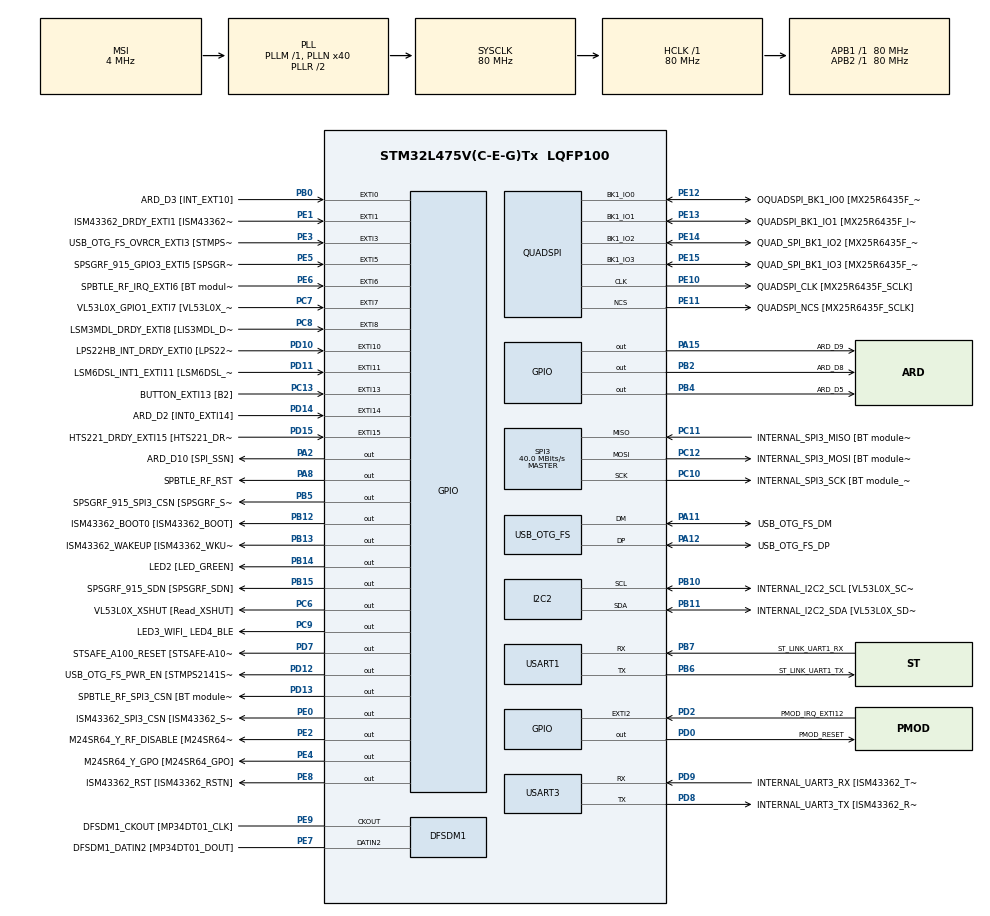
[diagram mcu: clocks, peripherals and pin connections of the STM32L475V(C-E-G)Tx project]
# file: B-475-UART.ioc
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IWDG.Prescaler=IWDG_PRESCALER_256
IWDG.Reload=1000
IWDG.Window=1000
Mcu.Family=STM32L4
Mcu.Name=STM32L475V(C-E-G)Tx
Mcu.Package=LQFP100
NVIC.EXTI15_10_IRQn=true\:0\:0\:false\:false\:true\:true
NVIC.EXTI9_5_IRQn=true\:0\:0\:false\:false\:true\:true
NVIC.PriorityGroup=NVIC_PRIORITYGROUP_4
NVIC.USART1_IRQn=true\:0\:0\:false\:false\:true\:true
PA0.GPIO_Label=ARD_D1 [UART4_TX]
PA0.Signal=UART4_TX
PA1.GPIO_Label=ARD_D0 [UART4_RX]
PA1.Signal=UART4_RX
PA10.GPIO_Label=USB_OTG_FS_ID
PA10.Signal=USB_OTG_FS_ID
PA11.GPIO_Label=USB_OTG_FS_DM
PA11.Mode=Device_Only
PA11.Signal=USB_OTG_FS_DM
PA12.GPIO_Label=USB_OTG_FS_DP
PA12.Mode=Device_Only
PA12.Signal=USB_OTG_FS_DP
PA13\ (JTMS-SWDIO).GPIO_Label=SYS_JTMS_SWDIO
PA13\ (JTMS-SWDIO).Mode=Serial_Wire
PA13\ (JTMS-SWDIO).Signal=SYS_JTMS-SWDIO
PA14\ (JTCK-SWCLK).GPIO_Label=SYS_JTCK_SWCLK
PA14\ (JTCK-SWCLK).Mode=Serial_Wire
PA14\ (JTCK-SWCLK).Signal=SYS_JTCK-SWCLK
PA15\ (JTDI).GPIO_Label=ARD_D9
PA15\ (JTDI).Signal=GPIO_Output
PA2.GPIO_Label=ARD_D10 [SPI_SSN]
PA2.Signal=GPIO_Output
PA3.GPIO_Label=ARD_D4
PA3.Signal=S_TIM2_CH4
PA4.GPIO_Label=ARD_D7
PA4.Signal=ADCx_IN9
PA5.GPIO_Label=ARD_D13 [SPI1_SCK]
PA5.Signal=SPI1_SCK
PA6.GPIO_Label=ARD_D12 [SPI1_MISO]
PA6.Signal=SPI1_MISO
PA7.GPIO_Label=ARD_D11 [SPI1_MOSI]
PA7.Signal=SPI1_MOSI
PA8.GPIO_Label=SPBTLE_RF_RST
PA8.Signal=GPIO_Output
PA9.GPIO_Label=USB_OTG_FS_VBUS [STMPS2141STR_OUT]
PA9.Signal=USB_OTG_FS_VBUS
PB0.GPIO_Label=ARD_D3 [INT_EXT10]
PB0.Signal=GPXTI0
PB1.GPIO_Label=ARD_D6 [ADC1_IN6]
PB1.Signal=ADCx_IN16
PB10.GPIO_Label=INTERNAL_I2C2_SCL [VL53L0X_SCL]
PB10.Mode=I2C
PB10.Signal=I2C2_SCL
PB11.GPIO_Label=INTERNAL_I2C2_SDA [VL53L0X_SDA]
PB11.Mode=I2C
PB11.Signal=I2C2_SDA
PB12.GPIO_Label=ISM43362_BOOT0 [ISM43362_BOOT]
PB12.Signal=GPIO_Output
PB13.GPIO_Label=ISM43362_WAKEUP [ISM43362_WKUP]
PB13.Signal=GPIO_Output
PB14.GPIO_Label=LED2 [LED_GREEN]
PB14.Signal=GPIO_Output
PB15.GPIO_Label=SPSGRF_915_SDN [SPSGRF_SDN]
PB15.Signal=GPIO_Output
PB2.GPIO_Label=ARD_D8
PB2.Signal=GPIO_Output
PB3\ (JTDO-TRACESWO).GPIO_Label=SYS_JTD0_SWO
PB3\ (JTDO-TRACESWO).Signal=SYS_JTDO-SWO
PB4\ (NJTRST).GPIO_Label=ARD_D5
PB4\ (NJTRST).Signal=GPIO_Output
PB5.GPIO_Label=SPSGRF_915_SPI3_CSN [SPSGRF_SPI_CS]
PB5.Signal=GPIO_Output
PB6.GPIO_Label=ST_LINK_UART1_TX
PB6.Mode=Asynchronous
PB6.Signal=USART1_TX
PB7.GPIO_Label=ST_LINK_UART1_RX
PB7.Mode=Asynchronous
PB7.Signal=USART1_RX
PB8.GPIO_Label=ARD_D15 [I2C1_SCL]
PB8.Signal=I2C1_SCL
PB9.GPIO_Label=ARD_D14 [I2C1_SDA]
PB9.Signal=I2C1_SDA
PC0.GPIO_Label=ARD_A5 [ADC]
PC0.Signal=ADCx_IN1
PC1.GPIO_Label=ARD_A4 [ADC]
PC1.Signal=ADCx_IN2
PC10.GPIO_Label=INTERNAL_SPI3_SCK [BT module_SPI_SCLK]
PC10.Mode=Full_Duplex_Master
PC10.Signal=SPI3_SCK
PC11.GPIO_Label=INTERNAL_SPI3_MISO [BT module_SPI_MISO]
PC11.Mode=Full_Duplex_Master
PC11.Signal=SPI3_MISO
PC12.GPIO_Label=INTERNAL_SPI3_MOSI [BT module_SPI_MOSI]
PC12.Mode=Full_Duplex_Master
PC12.Signal=SPI3_MOSI
PC13.GPIO_Label=BUTTON_EXTI13 [B2]
PC13.GPIO_ModeDefaultEXTI=GPIO_MODE_IT_FALLING
PC13.Signal=GPXTI13
PC14-OSC32_IN\ (PC14).Mode=LSE-External-Oscillator
PC14-OSC32_IN\ (PC14).Signal=RCC_OSC32_IN
PC15-OSC32_OUT\ (PC15).Mode=LSE-External-Oscillator
PC15-OSC32_OUT\ (PC15).Signal=RCC_OSC32_OUT
PC2.GPIO_Label=ARD_A3 [ADC]
PC2.Signal=ADCx_IN3
PC3.GPIO_Label=ARD_A2 [ADC]
PC3.Signal=ADCx_IN4
PC4.GPIO_Label=ARD_A1 [ADC]
PC4.Signal=ADCx_IN13
PC5.GPIO_Label=ARD_A0 [ADC]
PC5.Signal=ADCx_IN14
PC6.GPIO_Label=VL53L0X_XSHUT [Read_XSHUT]
PC6.Signal=GPIO_Output
PC7.GPIO_Label=VL53L0X_GPIO1_EXTI7 [VL53L0X_GPIO1]
PC7.Signal=GPXTI7
PC8.GPIO_Label=LSM3MDL_DRDY_EXTI8 [LIS3MDL_DRDY]
PC8.Signal=GPXTI8
PC9.GPIO_Label=LED3_WIFI_ LED4_BLE
PC9.Signal=GPIO_Output
PD0.GPIO_Label=PMOD_RESET
PD0.Signal=GPIO_Output
PD1.GPIO_Label=PMOD_SPI2_SCK
PD1.Signal=SPI2_SCK
PD10.GPIO_Label=LPS22HB_INT_DRDY_EXTI0 [LPS22HB_INT_DRDY] 
PD10.Signal=GPXTI10
PD11.GPIO_Label=LSM6DSL_INT1_EXTI11 [LSM6DSL_INT1]
PD11.Signal=GPXTI11
PD12.GPIO_Label=USB_OTG_FS_PWR_EN [STMPS2141STR_EN]
PD12.Signal=GPIO_Output
PD13.GPIO_Label=SPBTLE_RF_SPI3_CSN [BT module_SPI_CS]
PD13.Signal=GPIO_Output
PD14.GPIO_Label=ARD_D2 [INT0_EXTI14]
PD14.Signal=GPXTI14
PD15.GPIO_Label=HTS221_DRDY_EXTI15 [HTS221_DRDY]
PD15.Signal=GPXTI15
PD2.GPIO_Label=PMOD_IRQ_EXTI12
PD2.Signal=GPXTI2
PD3.GPIO_Label=PMOD_UART2_CTS
PD3.Signal=USART2_CTS
PD4.GPIO_Label=PMOD_UART2_RTS
PD4.Signal=USART2_RTS
PD5.GPIO_Label=PMOD_UART2_TX
PD5.Signal=USART2_TX
PD6.GPIO_Label=PMOD_UART2_RX
PD6.Signal=USART2_RX
PD7.GPIO_Label=STSAFE_A100_RESET [STSAFE-A100_RESET]
PD7.Signal=GPIO_Output
PD8.GPIO_Label=INTERNAL_UART3_TX [ISM43362_RX]
PD8.Mode=Asynchronous
PD8.Signal=USART3_TX
PD9.GPIO_Label=INTERNAL_UART3_RX [ISM43362_TX]
PD9.Mode=Asynchronous
PD9.Signal=USART3_RX
PE0.GPIO_Label=ISM43362_SPI3_CSN [ISM43362_SSN]
PE0.Signal=GPIO_Output
PE1.GPIO_Label=ISM43362_DRDY_EXTI1 [ISM43362_DATARDY]
PE1.Signal=GPXTI1
PE10.GPIO_Label=QUADSPI_CLK [MX25R6435F_SCLK]
PE10.Mode=Single Bank
PE10.Signal=QUADSPI_CLK
PE11.GPIO_Label=QUADSPI_NCS [MX25R6435F_SCLK]
PE11.Mode=Single Bank
PE11.Signal=QUADSPI_NCS
PE12.GPIO_Label=OQUADSPI_BK1_IO0 [MX25R6435F_IO0]
PE12.Mode=Single Bank
PE12.Signal=QUADSPI_BK1_IO0
PE13.GPIO_Label=QUADSPI_BK1_IO1 [MX25R6435F_IO1]
PE13.Mode=Single Bank
PE13.Signal=QUADSPI_BK1_IO1
PE14.GPIO_Label=QUAD_SPI_BK1_IO2 [MX25R6435F_IO2]
PE14.Mode=Single Bank
PE14.Signal=QUADSPI_BK1_IO2
PE15.GPIO_Label=QUAD_SPI_BK1_IO3 [MX25R6435F_IO3]
PE15.Mode=Single Bank
PE15.Signal=QUADSPI_BK1_IO3
PE2.GPIO_Label=M24SR64_Y_RF_DISABLE [M24SR64_RFDIS]
PE2.Signal=GPIO_Output
PE3.GPIO_Label=USB_OTG_FS_OVRCR_EXTI3 [STMPS2141STR_FAULT]
PE3.Signal=GPXTI3
PE4.GPIO_Label=M24SR64_Y_GPO [M24SR64_GPO]
PE4.Signal=GPIO_Output
PE5.GPIO_Label=SPSGRF_915_GPIO3_EXTI5 [SPSGRF_GPIO_3]
PE5.Signal=GPXTI5
PE6.GPIO_Label=SPBTLE_RF_IRQ_EXTI6 [BT module_SPI_IRQ]
PE6.Signal=GPXTI6
PE7.GPIO_Label=DFSDM1_DATIN2 [MP34DT01_DOUT]
PE7.Signal=S_DATAIN2DFSDM1
PE8.GPIO_Label=ISM43362_RST [ISM43362_RSTN]
PE8.Signal=GPIO_Output
PE9.GPIO_Label=DFSDM1_CKOUT [MP34DT01_CLK]
PE9.Signal=S_CKOUTDFSDM1
ProjectManager.HeapSize=0x200
ProjectManager.StackSize=0x400
ProjectManager.TargetToolchain=TrueSTUDIO
RCC.ADCFreq_Value=48000000
RCC.AHBFreq_Value=80000000
RCC.APB1Freq_Value=80000000
RCC.APB1TimFreq_Value=80000000
RCC.APB2Freq_Value=80000000
RCC.APB2TimFreq_Value=80000000
RCC.CortexFreq_Value=80000000
RCC.HCLKFreq_Value=80000000
RCC.HSE_VALUE=8000000
RCC.HSI_VALUE=16000000
RCC.MSI_VALUE=4000000
RCC.PLLN=40
RCC.PLLSAI1N=24
RCC.SYSCLKFreq_VALUE=80000000
RCC.SYSCLKSource=RCC_SYSCLKSOURCE_PLLCLK
RCC.USBFreq_Value=48000000
RCC.VCOOutputFreq_Value=160000000
SH.ADCx_IN1.0=ADC1_IN1
SH.ADCx_IN13.0=ADC1_IN13
SH.ADCx_IN14.0=ADC1_IN14
SH.ADCx_IN16.0=ADC1_IN16
SH.ADCx_IN2.0=ADC1_IN2
SH.ADCx_IN3.0=ADC1_IN3
SH.ADCx_IN4.0=ADC1_IN4
SH.ADCx_IN9.0=ADC1_IN9
SH.S_CKOUTDFSDM1.0=DFSDM1_CKOUT,CKOUT
SH.S_CKOUTDFSDM1.1=DFSDM1_CKOUT,PDM_SPI_Input_from_ch12_and_Internal_Clock
SH.S_DATAIN2DFSDM1.0=DFSDM1_DATIN2,PDM_SPI_Input_from_ch12_and_Internal_Clock
SH.S_TIM2_CH4.0=TIM2_CH4
SPI3.CalculateBaudRate=40.0 MBits/s
SPI3.Direction=SPI_DIRECTION_2LINES
SPI3.Mode=SPI_MODE_MASTER
SPI3.VirtualType=VM_MASTER
USART1.VirtualMode-Asynchronous=VM_ASYNC
USART1.WordLength=WORDLENGTH_8B
USART3.VirtualMode-Asynchronous=VM_ASYNC
USB_OTG_FS.VirtualMode=Device_Only
VP_CRC_VS_CRC.Mode=CRC_Activate
VP_IWDG_VS_IWDG.Mode=IWDG_Activate
board=B-L475E-IOT01A

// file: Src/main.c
/* USER CODE BEGIN Header */
/**
  ******************************************************************************
  * @file           : main.c
  * @brief          : Main program body
  ******************************************************************************
  ** This notice applies to any and all portions of this file
  * that are not between comment pairs USER CODE BEGIN and
  * USER CODE END. Other portions of this file, whether
  * inserted by the user or by software development tools
  * are owned by their respective copyright owners.
  *
  * COPYRIGHT(c) 2018 STMicroelectronics
  *
  * Redistribution and use in source and binary forms, with or without modification,
  * are permitted provided that the following conditions are met:
  *   1. Redistributions of source code must retain the above copyright notice,
  *      this list of conditions and the following disclaimer.
  *   2. Redistributions in binary form must reproduce the above copyright notice,
  *      this list of conditions and the following disclaimer in the documentation
  *      and/or other materials provided with the distribution.
  *   3. Neither the name of STMicroelectronics nor the names of its contributors
  *      may be used to endorse or promote products derived from this software
  *      without specific prior written permission.
  *
  * THIS SOFTWARE IS PROVIDED BY THE COPYRIGHT HOLDERS AND CONTRIBUTORS "AS IS"
  * AND ANY EXPRESS OR IMPLIED WARRANTIES, INCLUDING, BUT NOT LIMITED TO, THE
  * IMPLIED WARRANTIES OF MERCHANTABILITY AND FITNESS FOR A PARTICULAR PURPOSE ARE
  * DISCLAIMED. IN NO EVENT SHALL THE COPYRIGHT HOLDER OR CONTRIBUTORS BE LIABLE
  * FOR ANY DIRECT, INDIRECT, INCIDENTAL, SPECIAL, EXEMPLARY, OR CONSEQUENTIAL
  * DAMAGES (INCLUDING, BUT NOT LIMITED TO, PROCUREMENT OF SUBSTITUTE GOODS OR
  * SERVICES; LOSS OF USE, DATA, OR PROFITS; OR BUSINESS INTERRUPTION) HOWEVER
  * CAUSED AND ON ANY THEORY OF LIABILITY, WHETHER IN CONTRACT, STRICT LIABILITY,
  * OR TORT (INCLUDING NEGLIGENCE OR OTHERWISE) ARISING IN ANY WAY OUT OF THE USE
  * OF THIS SOFTWARE, EVEN IF ADVISED OF THE POSSIBILITY OF SUCH DAMAGE.
  *
  ******************************************************************************
  */
/* USER CODE END Header */

#include "main.h"

/* USER CODE BEGIN Includes */
#include <stdio.h>
#include <string.h>
#include <uartDecoder.h>
#include "stm32l475e_iot01.h"
#include "stm32l475e_iot01_tsensor.h"
#include "stm32l475e_iot01_psensor.h"
#include "wifi.h"

/* USER CODE END Includes */

/* USER CODE BEGIN PD */
#ifndef COLOR_PRINT
#define PRINT_GREEN(X,Y) { \
		HAL_UART_Transmit(&huart1, (uint8_t *) "\033[32;1m", 7 ,500); \
		HAL_UART_Transmit(&huart1, X, Y, 500); \
		HAL_UART_Transmit(&huart1, (uint8_t*) "\033[0m", 4 ,500); \
}

#define PRINT_RED(X,Y) { \
		HAL_UART_Transmit(&huart1, (uint8_t *) "\033[31;1m", 7 ,500); \
		HAL_UART_Transmit(&huart1, X, Y, 500); \
		HAL_UART_Transmit(&huart1, (uint8_t*) "\033[0m", 4 ,500); \
}

#define PRINT_BLUE(X,Y) { \
		HAL_UART_Transmit(&huart1, (uint8_t *) "\033[34;1m", 7 ,500); \
		HAL_UART_Transmit(&huart1, X, Y, 500); \
		HAL_UART_Transmit(&huart1, (uint8_t*) "\033[0m", 4 ,500); \
}

#endif
/* USER CODE END PD */

CRC_HandleTypeDef hcrc;

DFSDM_Channel_HandleTypeDef hdfsdm1_channel1;

I2C_HandleTypeDef hi2c2;

IWDG_HandleTypeDef hiwdg;

QSPI_HandleTypeDef hqspi;

SPI_HandleTypeDef hspi3;

UART_HandleTypeDef huart1;
UART_HandleTypeDef huart3;

PCD_HandleTypeDef hpcd_USB_OTG_FS;

/* USER CODE BEGIN PV */
/* Private variables ---------------------------------------------------------*/

uint8_t rxBuffer[100], handlerU1[100], rxIndex = 0, rxChar, rxChar3;
uint32_t handlerU1Flag = 0;

#define WHITE_TEXT1 "\033[36;1m"
#define WHITE_TEXT2 "\033[0m"
#define GREEN_TEXT1 "\033[32;1m"
#define GREEN_TEXT2 "\033[0m"

/* USER CODE END PV */

void SystemClock_Config(void);
static void MX_GPIO_Init(void);
static void MX_DFSDM1_Init(void);
static void MX_I2C2_Init(void);
static void MX_QUADSPI_Init(void);
static void MX_SPI3_Init(void);
static void MX_USART1_UART_Init(void);
static void MX_USART3_UART_Init(void);
static void MX_USB_OTG_FS_PCD_Init(void);
static void MX_CRC_Init(void);
static void MX_IWDG_Init(void);
/* USER CODE BEGIN PFP */
/* Private function prototypes -----------------------------------------------*/

/* USER CODE END PFP */

/* USER CODE BEGIN 0 */
void checkReset(void)
{
	if(__HAL_RCC_GET_FLAG(RCC_FLAG_IWDGRST) == 1)	PRINT_RED( (uint8_t *)"Reset by WDT\n", 13)

	if(__HAL_RCC_GET_FLAG(RCC_FLAG_PINRST) == 1)	PRINT_RED( (uint8_t *)"Reset by NRST\n", 14)

	if(__HAL_RCC_GET_FLAG(RCC_FLAG_SFTRST) == 1)	PRINT_RED( (uint8_t *)"Reset by SFTRST\n", 16)

	if(__HAL_RCC_GET_FLAG(RCC_FLAG_BORRST) == 1)	PRINT_RED( (uint8_t *)"Reset by BOR\n", 13)

	__HAL_RCC_CLEAR_RESET_FLAGS();
}

void  HAL_UART_RxCpltCallback(UART_HandleTypeDef *UartHandle)
{
  if(UartHandle->Instance == USART1)
  {
    if((rxChar == ('\r')) || (rxChar == ('\n')))
    {
    	rxBuffer[rxIndex] = rxChar;
    	HAL_UART_Transmit(&huart1, &rxChar, 1, 500);
    	for (int a = 0; a < rxIndex +1; ++a) {
			handlerU1[a] = rxBuffer[a];
		}
    	handlerU1Flag = 1;
    	rxIndex = 0;
    }
    else if((rxChar == '\b') && rxIndex > 0) --rxIndex;

	else

    {
		if((rxChar > 0x60) && (rxChar < 0x7A))rxChar -= 0x20;
		rxBuffer[rxIndex] = rxChar;
    	//HAL_UART_Transmit(&huart1,(uint8_t *) WHITE_TEXT1,6,500);
    	HAL_UART_Transmit(&huart1,&rxBuffer[rxIndex],1,200);
    	//HAL_UART_Transmit(&huart1,(uint8_t *) WHITE_TEXT2,6,500);
    	HAL_GPIO_TogglePin(LED2_GPIO_Port,LED2_Pin);
    	++rxIndex;
    }
    HAL_UART_Receive_IT(&huart1,&rxChar,1);

  }

}

/* USER CODE END 0 */

int main(void)
{

  /* MCU Configuration--------------------------------------------------------*/

  /* Reset of all peripherals, Initializes the Flash interface and the Systick. */
  HAL_Init();

  /* Configure the system clock */
  SystemClock_Config();

  /* Initialize all configured peripherals */
  MX_GPIO_Init();
  MX_DFSDM1_Init();
  MX_I2C2_Init();
  MX_QUADSPI_Init();
  MX_SPI3_Init();
  MX_USART1_UART_Init();
  MX_USART3_UART_Init();
  MX_USB_OTG_FS_PCD_Init();
  MX_CRC_Init();
  MX_IWDG_Init();
  /* USER CODE BEGIN 2 */
  HAL_UART_Receive_IT(&huart1,&rxChar,1);
  HAL_UART_Receive_IT(&huart3,&rxChar3,1);
  printf("Inicio\n");
  HAL_UART_Transmit(&huart1,(uint8_t *)"\n\nInicio de placa \033[1m\033[33m B-L475-IOT\033[0m \n\n",45,500);
  __HAL_IWDG_START(&hiwdg);
  checkReset();
  PRINT_BLUE((uint8_t *) "#",1);
  BSP_TSENSOR_Init();
  BSP_PSENSOR_Init();

  /* USER CODE END 2 */

  /* Infinite loop */
  /* USER CODE BEGIN WHILE */
  while (1)
  {
	  if(handlerU1Flag == 1)
	  {
		  handlerU1Flag = 0;
		  decoderMsg(handlerU1);
		  for (int a = 0; a < 100; ++a) handlerU1[a] = 0;
	  }
	  HAL_IWDG_Refresh(&hiwdg);

	  HAL_Delay(50);
    /* USER CODE END WHILE */

  }
}

void SystemClock_Config(void)
{
  RCC_OscInitTypeDef RCC_OscInitStruct = {0};
  RCC_ClkInitTypeDef RCC_ClkInitStruct = {0};
  RCC_PeriphCLKInitTypeDef PeriphClkInit = {0};

  /**Configure LSE Drive Capability
  */
  HAL_PWR_EnableBkUpAccess();
  __HAL_RCC_LSEDRIVE_CONFIG(RCC_LSEDRIVE_LOW);
  /**Initializes the CPU, AHB and APB busses clocks
  */
  RCC_OscInitStruct.OscillatorType = RCC_OSCILLATORTYPE_LSI|RCC_OSCILLATORTYPE_LSE
                              |RCC_OSCILLATORTYPE_MSI;
  RCC_OscInitStruct.LSEState = RCC_LSE_ON;
  RCC_OscInitStruct.LSIState = RCC_LSI_ON;
  RCC_OscInitStruct.MSIState = RCC_MSI_ON;
  RCC_OscInitStruct.MSICalibrationValue = 0;
  RCC_OscInitStruct.MSIClockRange = RCC_MSIRANGE_6;
  RCC_OscInitStruct.PLL.PLLState = RCC_PLL_ON;
  RCC_OscInitStruct.PLL.PLLSource = RCC_PLLSOURCE_MSI;
  RCC_OscInitStruct.PLL.PLLM = 1;
  RCC_OscInitStruct.PLL.PLLN = 40;
  RCC_OscInitStruct.PLL.PLLP = RCC_PLLP_DIV7;
  RCC_OscInitStruct.PLL.PLLQ = RCC_PLLQ_DIV2;
  RCC_OscInitStruct.PLL.PLLR = RCC_PLLR_DIV2;
  if (HAL_RCC_OscConfig(&RCC_OscInitStruct) != HAL_OK)
  {
    Error_Handler();
  }
  /**Initializes the CPU, AHB and APB busses clocks
  */
  RCC_ClkInitStruct.ClockType = RCC_CLOCKTYPE_HCLK|RCC_CLOCKTYPE_SYSCLK
                              |RCC_CLOCKTYPE_PCLK1|RCC_CLOCKTYPE_PCLK2;
  RCC_ClkInitStruct.SYSCLKSource = RCC_SYSCLKSOURCE_PLLCLK;
  RCC_ClkInitStruct.AHBCLKDivider = RCC_SYSCLK_DIV1;
  RCC_ClkInitStruct.APB1CLKDivider = RCC_HCLK_DIV1;
  RCC_ClkInitStruct.APB2CLKDivider = RCC_HCLK_DIV1;

  if (HAL_RCC_ClockConfig(&RCC_ClkInitStruct, FLASH_LATENCY_4) != HAL_OK)
  {
    Error_Handler();
  }
  PeriphClkInit.PeriphClockSelection = RCC_PERIPHCLK_USART1|RCC_PERIPHCLK_USART3
                              |RCC_PERIPHCLK_I2C2|RCC_PERIPHCLK_DFSDM1
                              |RCC_PERIPHCLK_USB;
  PeriphClkInit.Usart1ClockSelection = RCC_USART1CLKSOURCE_PCLK2;
  PeriphClkInit.Usart3ClockSelection = RCC_USART3CLKSOURCE_PCLK1;
  PeriphClkInit.I2c2ClockSelection = RCC_I2C2CLKSOURCE_PCLK1;
  PeriphClkInit.Dfsdm1ClockSelection = RCC_DFSDM1CLKSOURCE_PCLK;
  PeriphClkInit.UsbClockSelection = RCC_USBCLKSOURCE_PLLSAI1;
  PeriphClkInit.PLLSAI1.PLLSAI1Source = RCC_PLLSOURCE_MSI;
  PeriphClkInit.PLLSAI1.PLLSAI1M = 1;
  PeriphClkInit.PLLSAI1.PLLSAI1N = 24;
  PeriphClkInit.PLLSAI1.PLLSAI1P = RCC_PLLP_DIV7;
  PeriphClkInit.PLLSAI1.PLLSAI1Q = RCC_PLLQ_DIV2;
  PeriphClkInit.PLLSAI1.PLLSAI1R = RCC_PLLR_DIV2;
  PeriphClkInit.PLLSAI1.PLLSAI1ClockOut = RCC_PLLSAI1_48M2CLK;
  if (HAL_RCCEx_PeriphCLKConfig(&PeriphClkInit) != HAL_OK)
  {
    Error_Handler();
  }
  /**Configure the main internal regulator output voltage
  */
  if (HAL_PWREx_ControlVoltageScaling(PWR_REGULATOR_VOLTAGE_SCALE1) != HAL_OK)
  {
    Error_Handler();
  }
  /**Enable MSI Auto calibration
  */
  HAL_RCCEx_EnableMSIPLLMode();
}

static void MX_CRC_Init(void)
{

  hcrc.Instance = CRC;
  hcrc.Init.DefaultPolynomialUse = DEFAULT_POLYNOMIAL_ENABLE;
  hcrc.Init.DefaultInitValueUse = DEFAULT_INIT_VALUE_ENABLE;
  hcrc.Init.InputDataInversionMode = CRC_INPUTDATA_INVERSION_NONE;
  hcrc.Init.OutputDataInversionMode = CRC_OUTPUTDATA_INVERSION_DISABLE;
  hcrc.InputDataFormat = CRC_INPUTDATA_FORMAT_BYTES;
  if (HAL_CRC_Init(&hcrc) != HAL_OK)
  {
    Error_Handler();
  }

}

static void MX_DFSDM1_Init(void)
{

  hdfsdm1_channel1.Instance = DFSDM1_Channel1;
  hdfsdm1_channel1.Init.OutputClock.Activation = ENABLE;
  hdfsdm1_channel1.Init.OutputClock.Selection = DFSDM_CHANNEL_OUTPUT_CLOCK_SYSTEM;
  hdfsdm1_channel1.Init.OutputClock.Divider = 2;
  hdfsdm1_channel1.Init.Input.Multiplexer = DFSDM_CHANNEL_EXTERNAL_INPUTS;
  hdfsdm1_channel1.Init.Input.DataPacking = DFSDM_CHANNEL_STANDARD_MODE;
  hdfsdm1_channel1.Init.Input.Pins = DFSDM_CHANNEL_FOLLOWING_CHANNEL_PINS;
  hdfsdm1_channel1.Init.SerialInterface.Type = DFSDM_CHANNEL_SPI_RISING;
  hdfsdm1_channel1.Init.SerialInterface.SpiClock = DFSDM_CHANNEL_SPI_CLOCK_INTERNAL;
  hdfsdm1_channel1.Init.Awd.FilterOrder = DFSDM_CHANNEL_FASTSINC_ORDER;
  hdfsdm1_channel1.Init.Awd.Oversampling = 1;
  hdfsdm1_channel1.Init.Offset = 0;
  hdfsdm1_channel1.Init.RightBitShift = 0x00;
  if (HAL_DFSDM_ChannelInit(&hdfsdm1_channel1) != HAL_OK)
  {
    Error_Handler();
  }

}

static void MX_I2C2_Init(void)
{

  hi2c2.Instance = I2C2;
  hi2c2.Init.Timing = 0x10909CEC;
  hi2c2.Init.OwnAddress1 = 0;
  hi2c2.Init.AddressingMode = I2C_ADDRESSINGMODE_7BIT;
  hi2c2.Init.DualAddressMode = I2C_DUALADDRESS_DISABLE;
  hi2c2.Init.OwnAddress2 = 0;
  hi2c2.Init.OwnAddress2Masks = I2C_OA2_NOMASK;
  hi2c2.Init.GeneralCallMode = I2C_GENERALCALL_DISABLE;
  hi2c2.Init.NoStretchMode = I2C_NOSTRETCH_DISABLE;
  if (HAL_I2C_Init(&hi2c2) != HAL_OK)
  {
    Error_Handler();
  }
  /**Configure Analogue filter
  */
  if (HAL_I2CEx_ConfigAnalogFilter(&hi2c2, I2C_ANALOGFILTER_ENABLE) != HAL_OK)
  {
    Error_Handler();
  }
  /**Configure Digital filter
  */
  if (HAL_I2CEx_ConfigDigitalFilter(&hi2c2, 0) != HAL_OK)
  {
    Error_Handler();
  }

}

static void MX_IWDG_Init(void)
{

  hiwdg.Instance = IWDG;
  hiwdg.Init.Prescaler = IWDG_PRESCALER_256;
  hiwdg.Init.Window = 1000;
  hiwdg.Init.Reload = 1000;
  if (HAL_IWDG_Init(&hiwdg) != HAL_OK)
  {
    Error_Handler();
  }

}

static void MX_QUADSPI_Init(void)
{

  /* QUADSPI parameter configuration*/
  hqspi.Instance = QUADSPI;
  hqspi.Init.ClockPrescaler = 255;
  hqspi.Init.FifoThreshold = 1;
  hqspi.Init.SampleShifting = QSPI_SAMPLE_SHIFTING_NONE;
  hqspi.Init.FlashSize = 1;
  hqspi.Init.ChipSelectHighTime = QSPI_CS_HIGH_TIME_1_CYCLE;
  hqspi.Init.ClockMode = QSPI_CLOCK_MODE_0;
  if (HAL_QSPI_Init(&hqspi) != HAL_OK)
  {
    Error_Handler();
  }

}

static void MX_SPI3_Init(void)
{

  /* SPI3 parameter configuration*/
  hspi3.Instance = SPI3;
  hspi3.Init.Mode = SPI_MODE_MASTER;
  hspi3.Init.Direction = SPI_DIRECTION_2LINES;
  hspi3.Init.DataSize = SPI_DATASIZE_4BIT;
  hspi3.Init.CLKPolarity = SPI_POLARITY_LOW;
  hspi3.Init.CLKPhase = SPI_PHASE_1EDGE;
  hspi3.Init.NSS = SPI_NSS_SOFT;
  hspi3.Init.BaudRatePrescaler = SPI_BAUDRATEPRESCALER_2;
  hspi3.Init.FirstBit = SPI_FIRSTBIT_MSB;
  hspi3.Init.TIMode = SPI_TIMODE_DISABLE;
  hspi3.Init.CRCCalculation = SPI_CRCCALCULATION_DISABLE;
  hspi3.Init.CRCPolynomial = 7;
  hspi3.Init.CRCLength = SPI_CRC_LENGTH_DATASIZE;
  hspi3.Init.NSSPMode = SPI_NSS_PULSE_ENABLE;
  if (HAL_SPI_Init(&hspi3) != HAL_OK)
  {
    Error_Handler();
  }

}

static void MX_USART1_UART_Init(void)
{

  huart1.Instance = USART1;
  huart1.Init.BaudRate = 115200;
  huart1.Init.WordLength = UART_WORDLENGTH_8B;
  huart1.Init.StopBits = UART_STOPBITS_1;
  huart1.Init.Parity = UART_PARITY_NONE;
  huart1.Init.Mode = UART_MODE_TX_RX;
  huart1.Init.HwFlowCtl = UART_HWCONTROL_NONE;
  huart1.Init.OverSampling = UART_OVERSAMPLING_16;
  huart1.Init.OneBitSampling = UART_ONE_BIT_SAMPLE_DISABLE;
  huart1.AdvancedInit.AdvFeatureInit = UART_ADVFEATURE_NO_INIT;
  if (HAL_UART_Init(&huart1) != HAL_OK)
  {
    Error_Handler();
  }

}

static void MX_USART3_UART_Init(void)
{

  huart3.Instance = USART3;
  huart3.Init.BaudRate = 115200;
  huart3.Init.WordLength = UART_WORDLENGTH_8B;
  huart3.Init.StopBits = UART_STOPBITS_1;
  huart3.Init.Parity = UART_PARITY_NONE;
  huart3.Init.Mode = UART_MODE_TX_RX;
  huart3.Init.HwFlowCtl = UART_HWCONTROL_NONE;
  huart3.Init.OverSampling = UART_OVERSAMPLING_16;
  huart3.Init.OneBitSampling = UART_ONE_BIT_SAMPLE_DISABLE;
  huart3.AdvancedInit.AdvFeatureInit = UART_ADVFEATURE_NO_INIT;
  if (HAL_UART_Init(&huart3) != HAL_OK)
  {
    Error_Handler();
  }

}

static void MX_USB_OTG_FS_PCD_Init(void)
{

  hpcd_USB_OTG_FS.Instance = USB_OTG_FS;
  hpcd_USB_OTG_FS.Init.dev_endpoints = 6;
  hpcd_USB_OTG_FS.Init.speed = PCD_SPEED_FULL;
  hpcd_USB_OTG_FS.Init.ep0_mps = DEP0CTL_MPS_64;
  hpcd_USB_OTG_FS.Init.phy_itface = PCD_PHY_EMBEDDED;
  hpcd_USB_OTG_FS.Init.Sof_enable = DISABLE;
  hpcd_USB_OTG_FS.Init.low_power_enable = DISABLE;
  hpcd_USB_OTG_FS.Init.lpm_enable = DISABLE;
  hpcd_USB_OTG_FS.Init.battery_charging_enable = DISABLE;
  hpcd_USB_OTG_FS.Init.use_dedicated_ep1 = DISABLE;
  hpcd_USB_OTG_FS.Init.vbus_sensing_enable = DISABLE;
  if (HAL_PCD_Init(&hpcd_USB_OTG_FS) != HAL_OK)
  {
    Error_Handler();
  }

}

static void MX_GPIO_Init(void)
{
  GPIO_InitTypeDef GPIO_InitStruct = {0};

  /* GPIO Ports Clock Enable */
  __HAL_RCC_GPIOE_CLK_ENABLE();
  __HAL_RCC_GPIOC_CLK_ENABLE();
  __HAL_RCC_GPIOA_CLK_ENABLE();
  __HAL_RCC_GPIOB_CLK_ENABLE();
  __HAL_RCC_GPIOD_CLK_ENABLE();

  /*Configure GPIO pin Output Level */
  HAL_GPIO_WritePin(GPIOE, M24SR64_Y_RF_DISABLE_Pin|M24SR64_Y_GPO_Pin|ISM43362_RST_Pin|ISM43362_SPI3_CSN_Pin, GPIO_PIN_RESET);

  /*Configure GPIO pin Output Level */
  HAL_GPIO_WritePin(GPIOA, ARD_D10_Pin|SPBTLE_RF_RST_Pin|ARD_D9_Pin, GPIO_PIN_RESET);

  /*Configure GPIO pin Output Level */
  HAL_GPIO_WritePin(GPIOB, ARD_D8_Pin|ISM43362_BOOT0_Pin|ISM43362_WAKEUP_Pin|LED2_Pin
                          |SPSGRF_915_SDN_Pin|ARD_D5_Pin|SPSGRF_915_SPI3_CSN_Pin, GPIO_PIN_RESET);

  /*Configure GPIO pin Output Level */
  HAL_GPIO_WritePin(GPIOD, USB_OTG_FS_PWR_EN_Pin|SPBTLE_RF_SPI3_CSN_Pin|PMOD_RESET_Pin|STSAFE_A100_RESET_Pin, GPIO_PIN_RESET);

  /*Configure GPIO pin Output Level */
  HAL_GPIO_WritePin(GPIOC, VL53L0X_XSHUT_Pin|LED3_WIFI__LED4_BLE_Pin, GPIO_PIN_RESET);

  /*Configure GPIO pins : M24SR64_Y_RF_DISABLE_Pin M24SR64_Y_GPO_Pin ISM43362_RST_Pin ISM43362_SPI3_CSN_Pin */
  GPIO_InitStruct.Pin = M24SR64_Y_RF_DISABLE_Pin|M24SR64_Y_GPO_Pin|ISM43362_RST_Pin|ISM43362_SPI3_CSN_Pin;
  GPIO_InitStruct.Mode = GPIO_MODE_OUTPUT_PP;
  GPIO_InitStruct.Pull = GPIO_NOPULL;
  GPIO_InitStruct.Speed = GPIO_SPEED_FREQ_LOW;
  HAL_GPIO_Init(GPIOE, &GPIO_InitStruct);

  /*Configure GPIO pins : USB_OTG_FS_OVRCR_EXTI3_Pin SPSGRF_915_GPIO3_EXTI5_Pin SPBTLE_RF_IRQ_EXTI6_Pin ISM43362_DRDY_EXTI1_Pin */
  GPIO_InitStruct.Pin = USB_OTG_FS_OVRCR_EXTI3_Pin|SPSGRF_915_GPIO3_EXTI5_Pin|SPBTLE_RF_IRQ_EXTI6_Pin|ISM43362_DRDY_EXTI1_Pin;
  GPIO_InitStruct.Mode = GPIO_MODE_IT_RISING;
  GPIO_InitStruct.Pull = GPIO_NOPULL;
  HAL_GPIO_Init(GPIOE, &GPIO_InitStruct);

  /*Configure GPIO pin : BUTTON_EXTI13_Pin */
  GPIO_InitStruct.Pin = BUTTON_EXTI13_Pin;
  GPIO_InitStruct.Mode = GPIO_MODE_IT_FALLING;
  GPIO_InitStruct.Pull = GPIO_NOPULL;
  HAL_GPIO_Init(BUTTON_EXTI13_GPIO_Port, &GPIO_InitStruct);

  /*Configure GPIO pins : ARD_A5_Pin ARD_A4_Pin ARD_A3_Pin ARD_A2_Pin
                           ARD_A1_Pin ARD_A0_Pin */
  GPIO_InitStruct.Pin = ARD_A5_Pin|ARD_A4_Pin|ARD_A3_Pin|ARD_A2_Pin
                          |ARD_A1_Pin|ARD_A0_Pin;
  GPIO_InitStruct.Mode = GPIO_MODE_ANALOG_ADC_CONTROL;
  GPIO_InitStruct.Pull = GPIO_NOPULL;
  HAL_GPIO_Init(GPIOC, &GPIO_InitStruct);

  /*Configure GPIO pins : ARD_D1_Pin ARD_D0_Pin */
  GPIO_InitStruct.Pin = ARD_D1_Pin|ARD_D0_Pin;
  GPIO_InitStruct.Mode = GPIO_MODE_AF_PP;
  GPIO_InitStruct.Pull = GPIO_NOPULL;
  GPIO_InitStruct.Speed = GPIO_SPEED_FREQ_VERY_HIGH;
  GPIO_InitStruct.Alternate = GPIO_AF8_UART4;
  HAL_GPIO_Init(GPIOA, &GPIO_InitStruct);

  /*Configure GPIO pins : ARD_D10_Pin SPBTLE_RF_RST_Pin ARD_D9_Pin */
  GPIO_InitStruct.Pin = ARD_D10_Pin|SPBTLE_RF_RST_Pin|ARD_D9_Pin;
  GPIO_InitStruct.Mode = GPIO_MODE_OUTPUT_PP;
  GPIO_InitStruct.Pull = GPIO_NOPULL;
  GPIO_InitStruct.Speed = GPIO_SPEED_FREQ_LOW;
  HAL_GPIO_Init(GPIOA, &GPIO_InitStruct);

  /*Configure GPIO pin : ARD_D4_Pin */
  GPIO_InitStruct.Pin = ARD_D4_Pin;
  GPIO_InitStruct.Mode = GPIO_MODE_AF_PP;
  GPIO_InitStruct.Pull = GPIO_NOPULL;
  GPIO_InitStruct.Speed = GPIO_SPEED_FREQ_LOW;
  GPIO_InitStruct.Alternate = GPIO_AF1_TIM2;
  HAL_GPIO_Init(ARD_D4_GPIO_Port, &GPIO_InitStruct);

  /*Configure GPIO pin : ARD_D7_Pin */
  GPIO_InitStruct.Pin = ARD_D7_Pin;
  GPIO_InitStruct.Mode = GPIO_MODE_ANALOG_ADC_CONTROL;
  GPIO_InitStruct.Pull = GPIO_NOPULL;
  HAL_GPIO_Init(ARD_D7_GPIO_Port, &GPIO_InitStruct);

  /*Configure GPIO pins : ARD_D13_Pin ARD_D12_Pin ARD_D11_Pin */
  GPIO_InitStruct.Pin = ARD_D13_Pin|ARD_D12_Pin|ARD_D11_Pin;
  GPIO_InitStruct.Mode = GPIO_MODE_AF_PP;
  GPIO_InitStruct.Pull = GPIO_NOPULL;
  GPIO_InitStruct.Speed = GPIO_SPEED_FREQ_VERY_HIGH;
  GPIO_InitStruct.Alternate = GPIO_AF5_SPI1;
  HAL_GPIO_Init(GPIOA, &GPIO_InitStruct);

  /*Configure GPIO pin : ARD_D3_Pin */
  GPIO_InitStruct.Pin = ARD_D3_Pin;
  GPIO_InitStruct.Mode = GPIO_MODE_IT_RISING;
  GPIO_InitStruct.Pull = GPIO_NOPULL;
  HAL_GPIO_Init(ARD_D3_GPIO_Port, &GPIO_InitStruct);

  /*Configure GPIO pin : ARD_D6_Pin */
  GPIO_InitStruct.Pin = ARD_D6_Pin;
  GPIO_InitStruct.Mode = GPIO_MODE_ANALOG_ADC_CONTROL;
  GPIO_InitStruct.Pull = GPIO_NOPULL;
  HAL_GPIO_Init(ARD_D6_GPIO_Port, &GPIO_InitStruct);

  /*Configure GPIO pins : ARD_D8_Pin ISM43362_BOOT0_Pin ISM43362_WAKEUP_Pin LED2_Pin
                           SPSGRF_915_SDN_Pin ARD_D5_Pin SPSGRF_915_SPI3_CSN_Pin */
  GPIO_InitStruct.Pin = ARD_D8_Pin|ISM43362_BOOT0_Pin|ISM43362_WAKEUP_Pin|LED2_Pin
                          |SPSGRF_915_SDN_Pin|ARD_D5_Pin|SPSGRF_915_SPI3_CSN_Pin;
  GPIO_InitStruct.Mode = GPIO_MODE_OUTPUT_PP;
  GPIO_InitStruct.Pull = GPIO_NOPULL;
  GPIO_InitStruct.Speed = GPIO_SPEED_FREQ_LOW;
  HAL_GPIO_Init(GPIOB, &GPIO_InitStruct);

  /*Configure GPIO pins : LPS22HB_INT_DRDY_EXTI0_Pin LSM6DSL_INT1_EXTI11_Pin ARD_D2_Pin HTS221_DRDY_EXTI15_Pin
                           PMOD_IRQ_EXTI12_Pin */
  GPIO_InitStruct.Pin = LPS22HB_INT_DRDY_EXTI0_Pin|LSM6DSL_INT1_EXTI11_Pin|ARD_D2_Pin|HTS221_DRDY_EXTI15_Pin
                          |PMOD_IRQ_EXTI12_Pin;
  GPIO_InitStruct.Mode = GPIO_MODE_IT_RISING;
  GPIO_InitStruct.Pull = GPIO_NOPULL;
  HAL_GPIO_Init(GPIOD, &GPIO_InitStruct);

  /*Configure GPIO pins : USB_OTG_FS_PWR_EN_Pin SPBTLE_RF_SPI3_CSN_Pin PMOD_RESET_Pin STSAFE_A100_RESET_Pin */
  GPIO_InitStruct.Pin = USB_OTG_FS_PWR_EN_Pin|SPBTLE_RF_SPI3_CSN_Pin|PMOD_RESET_Pin|STSAFE_A100_RESET_Pin;
  GPIO_InitStruct.Mode = GPIO_MODE_OUTPUT_PP;
  GPIO_InitStruct.Pull = GPIO_NOPULL;
  GPIO_InitStruct.Speed = GPIO_SPEED_FREQ_LOW;
  HAL_GPIO_Init(GPIOD, &GPIO_InitStruct);

  /*Configure GPIO pins : VL53L0X_XSHUT_Pin LED3_WIFI__LED4_BLE_Pin */
  GPIO_InitStruct.Pin = VL53L0X_XSHUT_Pin|LED3_WIFI__LED4_BLE_Pin;
  GPIO_InitStruct.Mode = GPIO_MODE_OUTPUT_PP;
  GPIO_InitStruct.Pull = GPIO_NOPULL;
  GPIO_InitStruct.Speed = GPIO_SPEED_FREQ_LOW;
  HAL_GPIO_Init(GPIOC, &GPIO_InitStruct);

  /*Configure GPIO pins : VL53L0X_GPIO1_EXTI7_Pin LSM3MDL_DRDY_EXTI8_Pin */
  GPIO_InitStruct.Pin = VL53L0X_GPIO1_EXTI7_Pin|LSM3MDL_DRDY_EXTI8_Pin;
  GPIO_InitStruct.Mode = GPIO_MODE_IT_RISING;
  GPIO_InitStruct.Pull = GPIO_NOPULL;
  HAL_GPIO_Init(GPIOC, &GPIO_InitStruct);

  /*Configure GPIO pin : PMOD_SPI2_SCK_Pin */
  GPIO_InitStruct.Pin = PMOD_SPI2_SCK_Pin;
  GPIO_InitStruct.Mode = GPIO_MODE_AF_PP;
  GPIO_InitStruct.Pull = GPIO_NOPULL;
  GPIO_InitStruct.Speed = GPIO_SPEED_FREQ_VERY_HIGH;
  GPIO_InitStruct.Alternate = GPIO_AF5_SPI2;
  HAL_GPIO_Init(PMOD_SPI2_SCK_GPIO_Port, &GPIO_InitStruct);

  /*Configure GPIO pins : PMOD_UART2_CTS_Pin PMOD_UART2_RTS_Pin PMOD_UART2_TX_Pin PMOD_UART2_RX_Pin */
  GPIO_InitStruct.Pin = PMOD_UART2_CTS_Pin|PMOD_UART2_RTS_Pin|PMOD_UART2_TX_Pin|PMOD_UART2_RX_Pin;
  GPIO_InitStruct.Mode = GPIO_MODE_AF_PP;
  GPIO_InitStruct.Pull = GPIO_NOPULL;
  GPIO_InitStruct.Speed = GPIO_SPEED_FREQ_VERY_HIGH;
  GPIO_InitStruct.Alternate = GPIO_AF7_USART2;
  HAL_GPIO_Init(GPIOD, &GPIO_InitStruct);

  /*Configure GPIO pins : ARD_D15_Pin ARD_D14_Pin */
  GPIO_InitStruct.Pin = ARD_D15_Pin|ARD_D14_Pin;
  GPIO_InitStruct.Mode = GPIO_MODE_AF_OD;
  GPIO_InitStruct.Pull = GPIO_PULLUP;
  GPIO_InitStruct.Speed = GPIO_SPEED_FREQ_VERY_HIGH;
  GPIO_InitStruct.Alternate = GPIO_AF4_I2C1;
  HAL_GPIO_Init(GPIOB, &GPIO_InitStruct);

  /* EXTI interrupt init*/
  HAL_NVIC_SetPriority(EXTI9_5_IRQn, 0, 0);
  HAL_NVIC_EnableIRQ(EXTI9_5_IRQn);

  HAL_NVIC_SetPriority(EXTI15_10_IRQn, 0, 0);
  HAL_NVIC_EnableIRQ(EXTI15_10_IRQn);

}

void Error_Handler(void)
{
  while(1)
  {
  }
}

/************************ (C) COPYRIGHT STMicroelectronics *****END OF FILE****/
